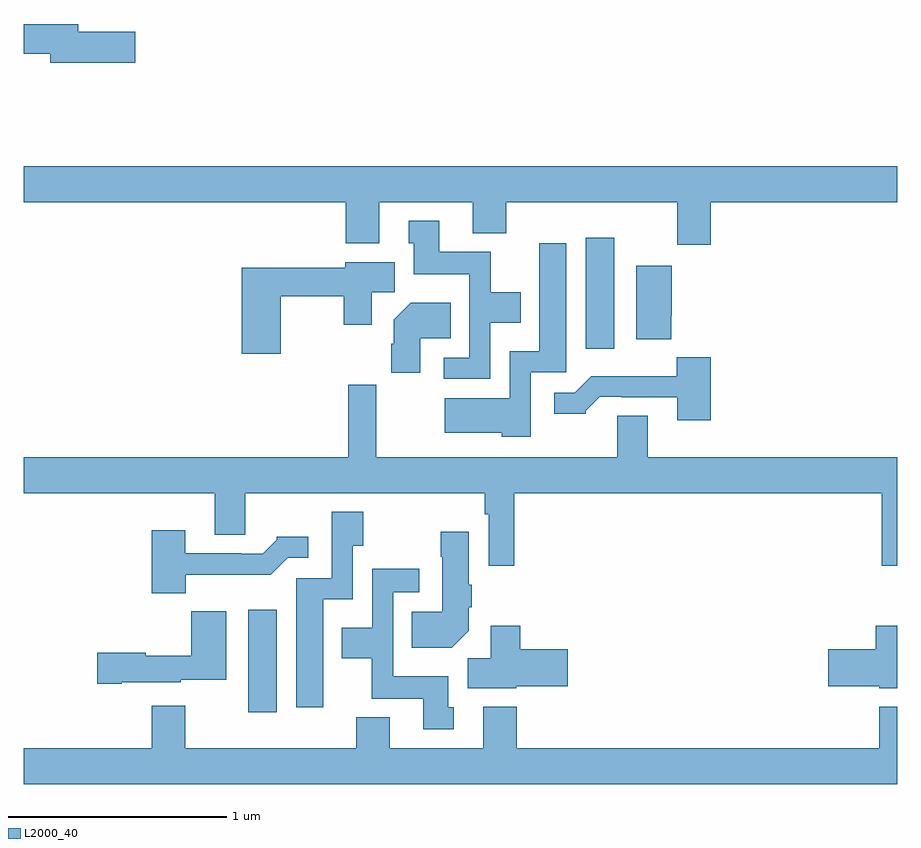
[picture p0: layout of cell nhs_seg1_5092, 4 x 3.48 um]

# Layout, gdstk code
import gdstk
lib = gdstk.Library(unit=1e-6, precision=1e-09)
def R(c, l, rs):  # rectangles x0, y0, x1, y1
    for r in rs: c.add(gdstk.rectangle(r[:2], r[2:], *l))
def P(c, l, *ps):  # polygons
    for p in ps: c.add(gdstk.Polygon(p, *l))
L2000_40 = (2000, 40)

nhs_seg1_5092 = lib.new_cell('nhs_seg1_5092')
R(nhs_seg1_5092, L2000_40, [(388.028,542.736,388.159,543.205), (389.573,544.401,389.704,544.909)])
P(nhs_seg1_5092, L2000_40, [(387.511,545.852),(387.25,545.852),(387.25,545.888),(387,545.888),(387,545.752),(387.122,545.752),(387.122,545.71),(387.511,545.71)],
  [(390.146,545.072),(391,545.072),(391,545.236),(387,545.236),(387,545.072),(388.475,545.072),(388.475,544.883),(388.627,544.883),(388.627,545.072),(389.057,545.072),(389.057,544.931),(389.21,544.931),(389.21,545.072),(389.993,545.072),(389.993,544.878),(390.146,544.878)],
  [(389.136,544.52),(389.275,544.52),(389.275,544.66),(389.139,544.66),(389.139,544.846),(388.903,544.846),(388.903,544.987),(388.763,544.987),(388.763,544.884),(388.787,544.884),(388.787,544.742),(389.04,544.742),(389.04,544.359),(388.923,544.359),(388.923,544.263),(389.136,544.263)],
  [(389.322,544.293),(389.485,544.293),(389.485,544.885),(389.36,544.885),(389.36,544.39),(389.226,544.39),(389.226,544.174),(388.929,544.174),(388.929,544.016),(389.19,544.016),(389.19,543.998),(389.322,543.998)],
  [(388.176,544.642),(388.465,544.642),(388.465,544.512),(388.594,544.512),(388.594,544.66),(388.699,544.66),(388.699,544.798),(388.472,544.798),(388.472,544.771),(387.998,544.771),(387.998,544.377),(388.176,544.377)],
  [(389.966,544.552),(389.968,544.552),(389.968,544.78),(389.804,544.78),(389.804,544.445),(389.966,544.445)],
  [(388.816,544.448),(388.955,544.448),(388.955,544.612),(388.772,544.612),(388.694,544.534),(388.694,544.424),(388.682,544.424),(388.682,544.29),(388.816,544.29)],
  [(390.146,544.363),(389.991,544.363),(389.991,544.276),(389.599,544.276),(389.523,544.2),(389.43,544.2),(389.43,544.103),(389.574,544.103),(389.574,544.118),(389.638,544.182),(389.737,544.182),(389.737,544.179),(389.993,544.179),(389.993,544.074),(390.146,544.074)],
  [(389.246,543.74),(390.928,543.74),(390.928,543.408),(391,543.408),(391,543.904),(389.857,543.904),(389.857,544.094),(389.717,544.094),(389.717,543.904),(388.615,543.904),(388.615,544.237),(388.486,544.237),(388.486,543.904),(387,543.904),(387,543.74),(387.875,543.74),(387.875,543.55),(388.015,543.55),(388.015,543.74),(389.11,543.74),(389.11,543.644),(389.13,543.644),(389.13,543.408),(389.246,543.408)],
  [(388.372,543.254),(388.506,543.254),(388.506,543.499),(388.554,543.499),(388.554,543.655),(388.41,543.655),(388.41,543.351),(388.247,543.351),(388.247,542.76),(388.372,542.76)],
  [(387.742,543.366),(388.131,543.366),(388.209,543.444),(388.303,543.444),(388.303,543.541),(388.158,543.541),(388.158,543.526),(388.094,543.462),(387.995,543.462),(387.995,543.465),(387.739,543.465),(387.739,543.571),(387.587,543.571),(387.587,543.281),(387.742,543.281)],
  [(389.038,543.11),(389.038,543.217),(389.051,543.217),(389.051,543.32),(389.038,543.32),(389.038,543.562),(388.909,543.562),(388.909,543.449),(388.916,543.449),(388.916,543.196),(388.777,543.196),(388.777,543.032),(388.96,543.032)],
  [(388.969,542.76),(388.945,542.76),(388.945,542.902),(388.692,542.902),(388.692,543.285),(388.81,543.285),(388.81,543.394),(388.596,543.394),(388.596,543.124),(388.457,543.124),(388.457,542.984),(388.594,542.984),(388.594,542.798),(388.829,542.798),(388.829,542.658),(388.969,542.658)],
  [(387.448,542.873),(387.72,542.873),(387.72,542.885),(387.928,542.885),(387.928,543.199),(387.766,543.199),(387.766,542.995),(387.558,542.995),(387.558,543.008),(387.336,543.008),(387.336,542.866),(387.448,542.866)],
  [(389.256,542.855),(389.491,542.855),(389.491,543.026),(389.273,543.026),(389.273,543.133),(389.138,543.133),(389.138,542.984),(389.033,542.984),(389.033,542.846),(389.256,542.846)],
  [(391,543.133),(390.902,543.133),(390.902,543.026),(390.684,543.026),(390.684,542.855),(390.918,542.855),(390.918,542.846),(391,542.846)],
  [(391,542.761),(390.917,542.761),(390.917,542.572),(389.258,542.572),(389.258,542.761),(389.105,542.761),(389.105,542.572),(388.675,542.572),(388.675,542.713),(388.523,542.713),(388.523,542.572),(387.739,542.572),(387.739,542.767),(387.587,542.767),(387.587,542.572),(387,542.572),(387,542.408),(391,542.408)])

lib.write_gds('nhs_seg1_5092.gds')
